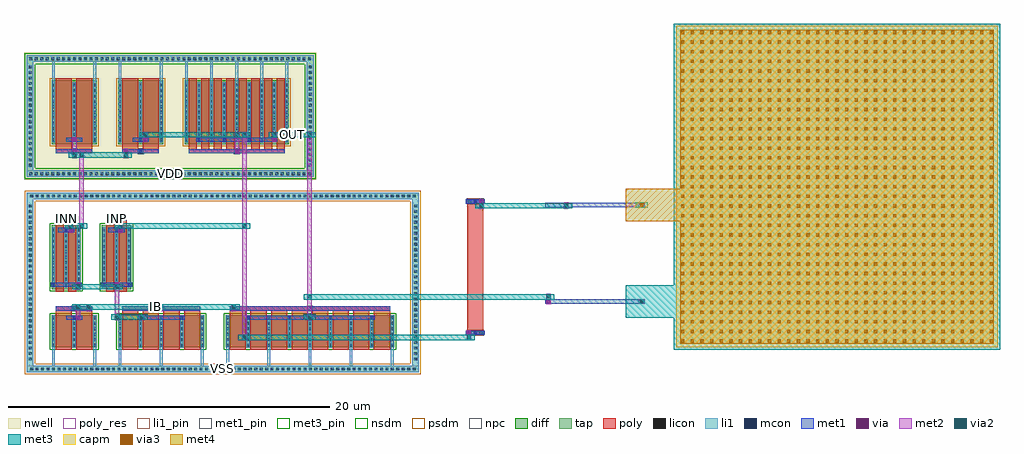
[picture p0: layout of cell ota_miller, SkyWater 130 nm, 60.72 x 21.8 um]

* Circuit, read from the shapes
.subckt ota_miller IB INN INP OUT VDD VSS
XM1 IB IB VSS VSS sky130_fd_pr__nfet_01v8 w=2 l=1 m=2
XM2 n1 INN n2 VSS sky130_fd_pr__nfet_01v8 w=4 l=0.5 m=2
XM3 n3 INP n2 VSS sky130_fd_pr__nfet_01v8 w=4 l=0.5 m=2
XM4 n2 IB VSS VSS sky130_fd_pr__nfet_01v8 w=2 l=1 m=4
XM5 OUT IB VSS VSS sky130_fd_pr__nfet_01v8 w=2 l=1 m=8
XM6 n1 n1 VDD VDD sky130_fd_pr__pfet_01v8 w=4 l=1 m=2
XM7 n3 n1 VDD VDD sky130_fd_pr__pfet_01v8 w=4 l=1 m=2
XM8 OUT n3 VDD VDD sky130_fd_pr__pfet_01v8 w=4 l=0.5 m=8
XC9 n4 OUT sky130_fd_pr__cap_mim_m3_1 w=20 l=20
R10 n4 n3 sky130_fd_pr__res_generic_po w=1 l=8
.ends

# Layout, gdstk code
import gdstk
lib = gdstk.Library(unit=1e-6, precision=1e-09)
def R(c, l, rs):  # rectangles x0, y0, x1, y1
    for r in rs: c.add(gdstk.rectangle(r[:2], r[2:], *l))
def A(c, l, x, y, w, h, nx, ny, dx, dy):  # array of equal rectangles
    R(c, l, [(x+i*dx, y+j*dy, x+i*dx+w, y+j*dy+h) for i in range(nx) for j in range(ny)])
nwell = (64, 20)
diff = (65, 20)
tap = (65, 44)
poly_res = (66, 13)
poly = (66, 20)
licon = (66, 44)
li1_pin = (67, 16)
li1 = (67, 20)
mcon = (67, 44)
met1_pin = (68, 16)
met1 = (68, 20)
via = (68, 44)
met2 = (69, 20)
via2 = (69, 44)
met3_pin = (70, 16)
met3 = (70, 20)
via3 = (70, 44)
met4 = (71, 20)
capm = (89, 44)
nsdm = (93, 44)
psdm = (94, 20)
npc = (95, 20)

ota_miller = lib.new_cell('ota_miller')
R(ota_miller, nwell, [(-1.715,10.43,16.475,18.35)])
R(ota_miller, diff, [(0,0,2.81,2), (4.135,0,9.505,2), (10.83,0,21.32,2), (0,3.61,1.81,7.61), (3.135,3.61,4.945,7.61), (0,12.63,2.81,16.63), (4.135,12.63,6.945,16.63), (8.27,12.63,14.76,16.63)])
R(ota_miller, tap, [(-1.535,-1.54,22.855,-1.13), (-1.535,-1.13,-1.125,9.22), (22.445,-1.13,22.855,9.22), (-1.535,9.22,22.855,9.63), (-1.535,10.61,16.295,11.02), (-1.535,11.02,-1.125,17.76), (15.885,11.02,16.295,17.76), (-1.535,17.76,16.295,18.17)])
R(ota_miller, poly_res, [(25.855,1,26.855,9)])
A(ota_miller, poly, 4.4, -0.13, 1, 2.26, 4, 1, 1.28, 0)
A(ota_miller, poly, 4.4, -0.13, 1, 2.555, 4, 1, 1.28, 0)
A(ota_miller, poly, 11.095, -0.13, 1, 2.26, 8, 1, 1.28, 0)
A(ota_miller, poly, 11.095, -0.13, 1, 2.555, 8, 1, 1.28, 0)
A(ota_miller, poly, 8.535, 12.205, 0.5, 4.555, 8, 1, 0.78, 0)
A(ota_miller, poly, 8.535, 12.5, 0.5, 4.26, 8, 1, 0.78, 0)
R(ota_miller, poly, [(0.265,-0.13,1.265,2.13), (0.265,-0.13,1.265,2.425), (1.545,-0.13,2.545,2.13), (1.545,-0.13,2.545,2.425), (25.855,0.75,26.855,9.25), (0.265,2.29,2.545,2.56), (1.24,2.29,1.57,2.56), (4.4,2.29,9.24,2.56), (6.655,2.29,6.985,2.56), (11.095,2.29,21.055,2.56), (15.91,2.29,16.24,2.56), (0.265,3.48,0.765,7.74), (0.265,3.48,0.765,8.035), (1.045,3.48,1.545,7.74), (1.045,3.48,1.545,8.035), (3.4,3.48,3.9,7.74), (3.4,3.48,3.9,8.035), (4.18,3.48,4.68,7.74), (4.18,3.48,4.68,8.035), (0.265,7.9,1.545,8.17), (0.74,7.9,1.07,8.17), (3.4,7.9,4.68,8.17), (3.875,7.9,4.205,8.17), (0.265,12.07,2.545,12.34), (1.24,12.07,1.57,12.34), (4.4,12.07,6.68,12.34), (5.375,12.07,5.705,12.34), (8.535,12.07,14.495,12.34), (11.35,12.07,11.68,12.34), (0.265,12.205,1.265,16.76), (1.545,12.205,2.545,16.76), (4.4,12.205,5.4,16.76), (5.68,12.205,6.68,16.76), (0.265,12.5,1.265,16.76), (1.545,12.5,2.545,16.76), (4.4,12.5,5.4,16.76), (5.68,12.5,6.68,16.76)])
A(ota_miller, licon, -1.325, -1.42, 0.17, 0.17, 71, 2, 0.34, 10.76)
A(ota_miller, licon, -1.415, -0.8, 0.17, 0.17, 1, 29, 0, 0.34)
A(ota_miller, licon, 22.565, -0.8, 0.17, 0.17, 1, 29, 0, 0.34)
A(ota_miller, licon, 0.04, 0.065, 0.17, 0.17, 3, 6, 1.28, 0.34)
A(ota_miller, licon, 4.175, 0.065, 0.17, 0.17, 5, 6, 1.28, 0.34)
A(ota_miller, licon, 10.87, 0.065, 0.17, 0.17, 9, 6, 1.28, 0.34)
A(ota_miller, licon, 25.93, 0.83, 0.17, 0.17, 3, 2, 0.34, 8.17)
A(ota_miller, licon, 0.04, 3.825, 0.17, 0.17, 3, 11, 0.78, 0.34)
A(ota_miller, licon, 3.175, 3.825, 0.17, 0.17, 3, 11, 0.78, 0.34)
A(ota_miller, licon, -1.375, 10.73, 0.17, 0.17, 52, 2, 0.34, 7.15)
A(ota_miller, licon, -1.415, 11.245, 0.17, 0.17, 1, 19, 0, 0.34)
A(ota_miller, licon, 16.005, 11.245, 0.17, 0.17, 1, 19, 0, 0.34)
A(ota_miller, licon, 0.04, 12.845, 0.17, 0.17, 3, 11, 1.28, 0.34)
A(ota_miller, licon, 4.175, 12.845, 0.17, 0.17, 3, 11, 1.28, 0.34)
A(ota_miller, licon, 8.31, 12.845, 0.17, 0.17, 9, 11, 0.78, 0.34)
R(ota_miller, licon, [(1.32,2.34,1.49,2.51), (6.735,2.34,6.905,2.51), (15.99,2.34,16.16,2.51), (0.82,7.95,0.99,8.12), (3.955,7.95,4.125,8.12), (1.32,12.12,1.49,12.29), (5.455,12.12,5.625,12.29), (11.43,12.12,11.6,12.29)])
R(ota_miller, li1_pin, [(-1.535,-1.54,22.855,-1.13), (-1.535,10.61,16.295,11.02)])
A(ota_miller, li1, 4.175, -1.23, 0.17, 1.215, 3, 1, 2.56, 0)
A(ota_miller, li1, 10.87, -1.23, 0.17, 1.215, 5, 1, 2.56, 0)
A(ota_miller, li1, 0.04, -0.015, 0.17, 2.03, 3, 1, 1.28, 0)
A(ota_miller, li1, 4.175, -0.015, 0.17, 2.03, 5, 1, 1.28, 0)
A(ota_miller, li1, 10.87, -0.015, 0.17, 2.03, 9, 1, 1.28, 0)
A(ota_miller, li1, 12.15, 1.685, 0.17, 0.33, 4, 1, 2.56, 0)
A(ota_miller, li1, 0.04, 3.745, 0.17, 3.73, 3, 1, 0.78, 0)
A(ota_miller, li1, 3.175, 3.745, 0.17, 3.73, 3, 1, 0.78, 0)
A(ota_miller, li1, 0.04, 12.765, 0.17, 3.73, 3, 1, 1.28, 0)
A(ota_miller, li1, 4.175, 12.765, 0.17, 3.73, 3, 1, 1.28, 0)
A(ota_miller, li1, 8.31, 12.765, 0.17, 3.73, 9, 1, 0.78, 0)
A(ota_miller, li1, 9.09, 12.765, 0.17, 0.33, 4, 1, 1.56, 0)
A(ota_miller, li1, 8.31, 16.495, 0.17, 1.365, 5, 1, 1.56, 0)
R(ota_miller, li1, [(-1.535,-1.54,22.855,-1.13), (0.04,-1.23,0.21,-0.015), (2.6,-1.23,2.77,-0.015), (-1.535,-1.13,-1.125,9.22), (22.445,-1.13,22.855,9.22), (25.85,0.83,26.86,1), (26.19,0.83,26.52,1), (1.32,1.685,1.49,2.015), (5.455,1.685,5.625,2.015), (8.015,1.685,8.185,2.015), (1.24,2.34,1.57,2.51), (6.655,2.34,6.985,2.51), (15.91,2.34,16.24,2.51), (0.04,3.745,0.21,4.075), (1.6,3.745,1.77,4.075), (3.175,3.745,3.345,4.075), (4.735,3.745,4.905,4.075), (0.82,7.145,0.99,7.475), (3.955,7.145,4.125,7.475), (0.74,7.95,1.07,8.12), (3.875,7.95,4.205,8.12), (25.85,9,26.86,9.17), (26.19,9,26.52,9.17), (-1.535,9.22,22.855,9.63), (-1.535,10.61,16.295,11.02), (-1.535,11.02,-1.125,17.76), (15.885,11.02,16.295,17.76), (1.24,12.12,1.57,12.29), (5.375,12.12,5.705,12.29), (11.35,12.12,11.68,12.29), (1.32,12.765,1.49,13.095), (5.455,12.765,5.625,13.095), (0.04,16.495,0.21,17.86), (2.6,16.495,2.77,17.86), (4.175,16.495,4.345,17.86), (6.735,16.495,6.905,17.86), (-1.535,17.76,16.295,18.17)])
A(ota_miller, mcon, 12.15, 1.765, 0.17, 0.17, 4, 1, 2.56, 0)
A(ota_miller, mcon, 9.09, 12.845, 0.17, 0.17, 4, 1, 1.56, 0)
R(ota_miller, mcon, [(26.27,0.83,26.44,1), (1.32,1.765,1.49,1.935), (5.455,1.765,5.625,1.935), (8.015,1.765,8.185,1.935), (1.32,2.34,1.49,2.51), (6.735,2.34,6.905,2.51), (15.99,2.34,16.16,2.51), (0.04,3.825,0.21,3.995), (1.6,3.825,1.77,3.995), (3.175,3.825,3.345,3.995), (4.735,3.825,4.905,3.995), (0.82,7.225,0.99,7.395), (3.955,7.225,4.125,7.395), (0.82,7.95,0.99,8.12), (3.955,7.95,4.125,8.12), (26.27,9,26.44,9.17), (1.32,12.12,1.49,12.29), (5.455,12.12,5.625,12.29), (11.43,12.12,11.6,12.29), (1.32,12.845,1.49,13.015), (5.455,12.845,5.625,13.015)])
R(ota_miller, met1_pin, [(0.265,7.905,1.545,8.165), (3.4,7.905,4.68,8.165)])
A(ota_miller, met1, 12.05, 1.735, 0.37, 0.23, 4, 1, 2.56, 0)
A(ota_miller, met1, 2.15, 2.295, 0.32, 0.26, 3, 1, 4.51, 0)
A(ota_miller, met1, 8.99, 12.815, 0.37, 0.23, 4, 1, 1.56, 0)
R(ota_miller, met1, [(25.755,0.785,26.955,1.045), (25.8,0.785,26.12,1.045), (26.17,0.8,26.54,1.03), (0.905,1.72,1.905,1.98), (1.49,1.72,1.81,1.98), (5.355,1.72,8.285,1.98), (5.45,1.72,5.77,1.98), (12.05,1.72,20.1,1.98), (15.9,1.72,16.22,1.98), (1.22,1.735,1.59,1.965), (5.355,1.735,5.725,1.965), (7.915,1.735,8.285,1.965), (0.265,2.295,2.545,2.555), (4.4,2.295,9.24,2.555), (11.095,2.295,21.055,2.555), (1.22,2.31,1.59,2.54), (6.635,2.31,7.005,2.54), (15.89,2.31,16.26,2.54), (30.72,2.73,36.72,2.99), (30.72,2.73,33.22,2.99), (30.75,2.73,31.07,2.99), (36.56,2.73,36.88,2.99), (-0.06,3.78,1.87,4.04), (1.49,3.78,1.81,4.04), (3.075,3.78,5.005,4.04), (3.91,3.78,4.23,4.04), (-0.06,3.795,0.31,4.025), (1.5,3.795,1.87,4.025), (3.075,3.795,3.445,4.025), (4.635,3.795,5.005,4.025), (0.405,7.18,1.405,7.44), (1.05,7.18,1.37,7.44), (3.54,7.18,4.54,7.44), (4.13,7.18,4.45,7.44), (0.72,7.195,1.09,7.425), (3.855,7.195,4.225,7.425), (0.265,7.905,1.545,8.165), (3.4,7.905,4.68,8.165), (0.72,7.92,1.09,8.15), (3.855,7.92,4.225,8.15), (30.72,8.73,36.72,8.99), (30.72,8.73,33.22,8.99), (31.85,8.73,32.17,8.99), (36.56,8.73,36.88,8.99), (25.755,8.955,26.955,9.215), (26.57,8.955,26.89,9.215), (26.17,8.97,26.54,9.2), (0.265,12.075,2.545,12.335), (1.27,12.075,1.59,12.335), (4.4,12.075,6.68,12.335), (4.46,12.075,4.78,12.335), (8.535,12.075,14.495,12.335), (11.39,12.075,11.71,12.335), (1.22,12.09,1.59,12.32), (5.355,12.09,5.725,12.32), (11.33,12.09,11.7,12.32), (0.905,12.8,1.905,13.06), (1.27,12.8,1.59,13.06), (5.04,12.8,6.04,13.06), (5.67,12.8,5.99,13.06), (8.99,12.8,14.04,13.06), (13.7,12.8,14.02,13.06), (1.22,12.815,1.59,13.045), (5.355,12.815,5.725,13.045)])
A(ota_miller, via, 2.235, 2.35, 0.15, 0.15, 3, 1, 4.51, 0)
R(ota_miller, via, [(25.885,0.84,26.035,0.99), (1.575,1.775,1.725,1.925), (5.535,1.775,5.685,1.925), (15.985,1.775,16.135,1.925), (30.835,2.785,30.985,2.935), (36.645,2.785,36.795,2.935), (1.575,3.835,1.725,3.985), (3.995,3.835,4.145,3.985), (1.135,7.235,1.285,7.385), (4.215,7.235,4.365,7.385), (31.935,8.785,32.085,8.935), (36.645,8.785,36.795,8.935), (26.655,9.01,26.805,9.16), (1.355,12.13,1.505,12.28), (4.545,12.13,4.695,12.28), (11.475,12.13,11.625,12.28), (1.355,12.855,1.505,13.005), (5.755,12.855,5.905,13.005), (13.785,12.855,13.935,13.005)])
A(ota_miller, met2, 2.18, 2.265, 0.26, 0.32, 3, 1, 4.51, 0)
A(ota_miller, met2, 2.17, 2.335, 0.28, 0.37, 3, 1, 4.51, 0)
A(ota_miller, met2, 2.17, 2.425, 0.28, 0.095, 3, 1, 4.51, 0)
R(ota_miller, met2, [(11.85,0.445,12.13,0.815), (25.82,0.445,26.1,0.815), (11.85,0.63,12.13,13.23), (25.82,0.63,26.1,0.915), (25.83,0.755,26.09,1.075), (1.52,1.69,1.78,2.01), (5.48,1.69,5.74,2.01), (15.93,1.69,16.19,2.01), (3.93,1.705,4.21,2.075), (5.47,1.705,5.75,2.075), (15.92,1.705,16.2,2.075), (15.92,1.705,16.2,2.075), (1.51,1.85,1.79,2.52), (5.47,1.85,5.75,1.89), (15.92,1.85,16.2,1.89), (3.93,1.89,4.21,3.78), (15.92,1.89,16.2,13.23), (1.51,2.335,1.79,2.705), (30.78,2.7,31.04,3.02), (36.535,2.72,36.905,3), (30.77,2.86,31.05,3.15), (15.92,2.965,16.2,3.335), (30.77,2.965,31.05,3.335), (1.51,3.595,1.79,3.965), (3.93,3.595,4.21,3.965), (3.93,3.595,4.21,3.965), (1.52,3.75,1.78,4.07), (3.94,3.75,4.2,4.07), (1.51,3.78,1.79,3.91), (3.93,3.78,4.21,3.91), (1.08,7.15,1.34,7.47), (4.16,7.15,4.42,7.47), (1.07,7.31,1.35,7.56), (4.15,7.31,4.43,7.56), (1.07,7.375,1.35,7.745), (1.73,7.375,2.01,7.745), (4.15,7.375,4.43,7.745), (11.85,7.375,12.13,7.745), (1.73,7.56,2.01,11.97), (26.59,8.635,26.87,9.005), (31.87,8.635,32.15,9.005), (31.88,8.7,32.14,9.02), (36.535,8.72,36.905,9), (26.59,8.82,26.87,9.085), (31.87,8.82,32.15,8.86), (26.6,8.925,26.86,9.245), (1.29,11.785,1.57,12.155), (1.29,11.785,1.57,12.155), (1.73,11.785,2.01,12.155), (4.48,11.785,4.76,12.155), (1.29,11.97,1.57,12.205), (1.29,11.97,1.57,12.93), (4.48,11.97,4.76,12.205), (1.3,12.045,1.56,12.365), (4.49,12.045,4.75,12.365), (11.42,12.045,11.68,12.365), (11.41,12.205,11.69,13.23), (1.3,12.77,1.56,13.09), (5.7,12.77,5.96,13.09), (13.73,12.77,13.99,13.09), (5.69,12.93,5.97,13.23), (13.72,12.93,14,13.23), (5.69,13.045,5.97,13.415), (11.41,13.045,11.69,13.415), (11.85,13.045,12.13,13.415), (13.72,13.045,14,13.415), (15.92,13.045,16.2,13.415)])
A(ota_miller, via2, 2.21, 2.42, 0.2, 0.2, 3, 1, 4.51, 0)
R(ota_miller, via2, [(11.89,0.53,12.09,0.73), (25.86,0.53,26.06,0.73), (3.97,1.79,4.17,1.99), (5.51,1.79,5.71,1.99), (15.96,1.79,16.16,1.99), (15.96,1.79,16.16,1.99), (1.55,2.42,1.75,2.62), (36.62,2.76,36.82,2.96), (15.96,3.05,16.16,3.25), (30.81,3.05,31.01,3.25), (1.55,3.68,1.75,3.88), (3.97,3.68,4.17,3.88), (3.97,3.68,4.17,3.88), (1.11,7.46,1.31,7.66), (1.77,7.46,1.97,7.66), (4.19,7.46,4.39,7.66), (11.89,7.46,12.09,7.66), (26.63,8.72,26.83,8.92), (31.91,8.72,32.11,8.92), (36.62,8.76,36.82,8.96), (1.33,11.87,1.53,12.07), (1.33,11.87,1.53,12.07), (1.77,11.87,1.97,12.07), (4.52,11.87,4.72,12.07), (5.73,13.13,5.93,13.33), (11.45,13.13,11.65,13.33), (11.89,13.13,12.09,13.33), (13.76,13.13,13.96,13.33), (15.96,13.13,16.16,13.33)])
R(ota_miller, met3_pin, [(1.65,2.355,11.33,2.685), (13.86,13.065,16.06,13.395)])
A(ota_miller, met3, 1.945, 2.355, 0.73, 0.33, 3, 1, 4.51, 0)
R(ota_miller, met3, [(38.72,-0.14,59,20.14), (11.625,0.465,12.355,0.795), (11.99,0.465,25.96,0.795), (25.595,0.465,26.325,0.795), (3.705,1.725,4.435,2.055), (4.07,1.725,5.61,2.055), (5.245,1.725,5.975,2.055), (15.695,1.725,16.425,2.055), (15.695,1.725,16.425,2.055), (35.72,1.86,38.82,3.86), (1.285,2.355,2.015,2.685), (1.65,2.355,11.33,2.685), (36.355,2.695,37.085,3.025), (15.695,2.985,16.425,3.315), (16.06,2.985,30.91,3.315), (30.545,2.985,31.275,3.315), (1.285,3.615,2.015,3.945), (1.65,3.615,4.07,3.945), (3.705,3.615,4.435,3.945), (3.705,3.615,4.435,3.945), (0.845,7.395,1.575,7.725), (1.21,7.395,1.87,7.725), (1.505,7.395,2.235,7.725), (3.925,7.395,4.655,7.725), (4.29,7.395,11.99,7.725), (11.625,7.395,12.355,7.725), (26.365,8.655,27.095,8.985), (26.73,8.655,32.01,8.985), (31.645,8.655,32.375,8.985), (36.355,8.695,37.085,9.025), (1.065,11.805,1.795,12.135), (1.065,11.805,1.795,12.135), (1.43,11.805,4.62,12.135), (1.505,11.805,2.235,12.135), (4.255,11.805,4.985,12.135), (5.465,13.065,6.195,13.395), (5.83,13.065,11.99,13.395), (11.185,13.065,11.915,13.395), (11.625,13.065,12.355,13.395), (13.495,13.065,14.225,13.395), (13.86,13.065,16.06,13.395), (15.695,13.065,16.425,13.395)])
A(ota_miller, via3, 39.16, 0.3, 0.2, 0.2, 33, 33, 0.6, 0.6)
R(ota_miller, via3, [(36.62,8.76,36.82,8.96)])
R(ota_miller, met4, [(39.095,0.235,58.625,19.765), (35.72,7.86,39.595,9.86), (36.355,8.695,37.085,9.025)])
R(ota_miller, capm, [(38.86,0,58.86,20)])
R(ota_miller, nsdm, [(-0.125,-0.125,2.935,2.125), (4.01,-0.125,9.63,2.125), (10.705,-0.125,21.445,2.125), (-0.125,3.485,1.935,7.735), (3.01,3.485,5.07,7.735), (-1.66,10.485,16.42,11.145), (-1.66,10.895,-1,17.885), (15.76,10.895,16.42,17.885), (-1.66,17.635,16.42,18.295)])
R(ota_miller, psdm, [(-1.66,-1.665,22.98,-1.005), (-1.66,-1.255,-1,9.345), (22.32,-1.255,22.98,9.345), (-1.66,9.095,22.98,9.755), (-0.125,12.505,2.935,16.755), (4.01,12.505,7.07,16.755), (8.145,12.505,14.885,16.755)])
R(ota_miller, npc, [(25.83,0.73,26.88,1.1), (1.22,2.24,1.59,2.61), (6.635,2.24,7.005,2.61), (15.89,2.24,16.26,2.61), (0.72,7.85,1.09,8.22), (3.855,7.85,4.225,8.22), (25.83,8.9,26.88,9.27), (1.22,12.02,1.59,12.39), (5.355,12.02,5.725,12.39), (11.33,12.02,11.7,12.39)])
ota_miller.add(gdstk.Label('INP', (4.04,8.035), layer=68, texttype=16))
ota_miller.add(gdstk.Label('INN', (0.905,8.035), layer=68, texttype=16))
ota_miller.add(gdstk.Label('INP', (4.04,8.035), layer=68, texttype=5))
ota_miller.add(gdstk.Label('INN', (0.905,8.035), layer=68, texttype=5))
ota_miller.add(gdstk.Label('OUT', (14.96,13.23), layer=70, texttype=16))
ota_miller.add(gdstk.Label('IB', (6.49,2.52), layer=70, texttype=16))
ota_miller.add(gdstk.Label('OUT', (14.96,13.23), layer=70, texttype=5))
ota_miller.add(gdstk.Label('IB', (6.49,2.52), layer=70, texttype=5))
ota_miller.add(gdstk.Label('VDD', (7.38,10.815), layer=67, texttype=16))
ota_miller.add(gdstk.Label('VSS', (10.66,-1.335), layer=67, texttype=16))
ota_miller.add(gdstk.Label('VDD', (7.38,10.815), layer=67, texttype=5))
ota_miller.add(gdstk.Label('VSS', (10.66,-1.335), layer=67, texttype=5))

lib.write_gds('ota_miller.gds')
